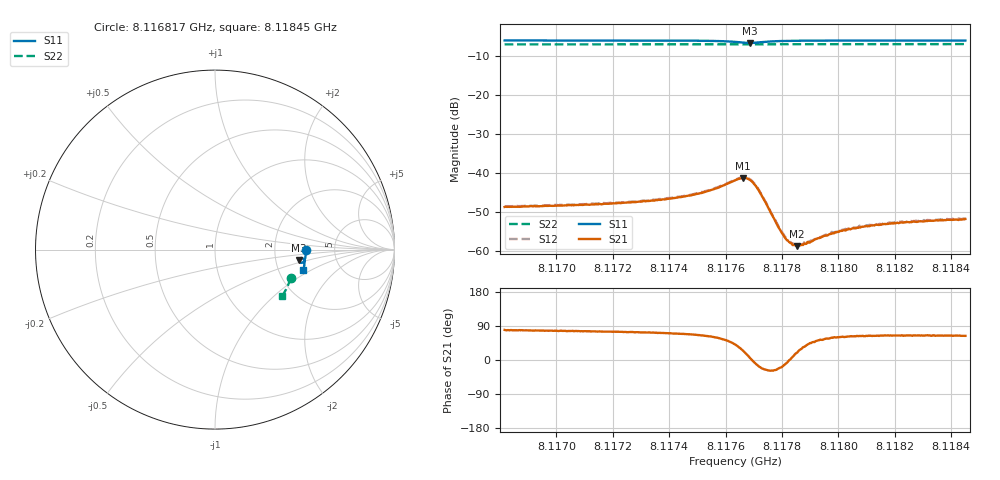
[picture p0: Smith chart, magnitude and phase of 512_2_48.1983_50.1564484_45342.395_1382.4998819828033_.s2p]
#  HZ  S  RI  R  50.00
! Rohde & Schwarz Vector Network Analyzer
! Rohde-Schwarz,ZNB20-2Port,1311601062101988,3.16
! Created: UTC 3/20/2024, 11:59:01 AM
! freq[Hz]  re:S11  im:S11  re:S21  im:S21  re:S12  im:S12  re:S22  im:S22
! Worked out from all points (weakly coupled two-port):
!   401 points, 8.116817 GHz to 8.11845 GHz, reference 50 ohm
!   highest |S21| = -41.17 dB at 8.117662 GHz (marker M1); lowest = -58.7 dB at 8.117854 GHz (marker M2)
!   lowest |S11| = -6.5 dB at 8.117686 GHz (marker M3), VSWR 2.78, Z = 136 - j20.3 ohm
!   |S11| at or under -10 dB: nowhere
!   |S22| runs from -6.9 to -6.8 dB; largest |S21 - S12| = 0.00023
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8.1168166e9  0.5067 -0.00184  0.000684 0.00365  0.000787 0.00374  0.423 -0.1562
8.1170903e9  0.5058 -0.0232  0.000951 0.00384  0.000965 0.00391  0.4165 -0.1743
8.1173639e9  0.5031 -0.046  0.00143 0.00436  0.00156 0.00443  0.4096 -0.1921
8.1174537e9  0.501 -0.0548  0.00184 0.00471  0.00193 0.00478  0.4069 -0.198
8.1175109e9  0.4986 -0.0608  0.00236 0.00507  0.00243 0.00514  0.4051 -0.2017
8.117568e9  0.494 -0.068  0.00332 0.00552  0.00343 0.00564  0.4035 -0.2054
8.1176334e9  0.4806 -0.074  0.00618 0.00535  0.00629 0.0054  0.4008 -0.2094
8.117662e9  0.4708 -0.0694  0.00795 0.00363  0.00815 0.00363  0.3997 -0.2108
8.1176865e9  0.4673 -0.0583  0.00821 0.000783  0.0084 0.000755  0.399 -0.2116
8.1177028e9  0.4708 -0.0511  0.00717 -0.000895  0.00731 -0.000984  0.3987 -0.2125
8.1177191e9  0.477 -0.0472  0.00566 -0.00179  0.00575 -0.00185  0.3985 -0.2133
8.1177886e9  0.4945 -0.0541  0.00186 -0.00075  0.00188 -0.000805  0.3972 -0.2179
8.117809e9  0.4964 -0.0574  0.00149 -0.000331  0.00155 -0.000322  0.3966 -0.2193
8.1178294e9  0.4973 -0.0605  0.00129 3.23e-05  0.00133 4.83e-05  0.396 -0.2207
8.1178539e9  0.4981 -0.0638  0.0011 0.000388  0.00114 0.00041  0.3953 -0.2222
8.1178784e9  0.4986 -0.0669  0.00104 0.000716  0.00106 0.000763  0.3945 -0.2239
8.117907e9  0.4988 -0.0701  0.000925 0.000989  0.000952 0.000992  0.3936 -0.2257
8.1179478e9  0.4988 -0.0746  0.000917 0.00128  0.000924 0.00129  0.3923 -0.2283
8.1180172e9  0.4982 -0.0811  0.000901 0.00163  0.000936 0.00165  0.3901 -0.2326
8.1180826e9  0.4976 -0.087  0.000934 0.00185  0.000963 0.00188  0.3877 -0.2367
8.1181806e9  0.4963 -0.0951  0.000982 0.00206  0.00101 0.00213  0.3844 -0.2426
8.1184501e9  0.4918 -0.1159  0.00115 0.00233  0.00116 0.00235  0.3745 -0.2589
